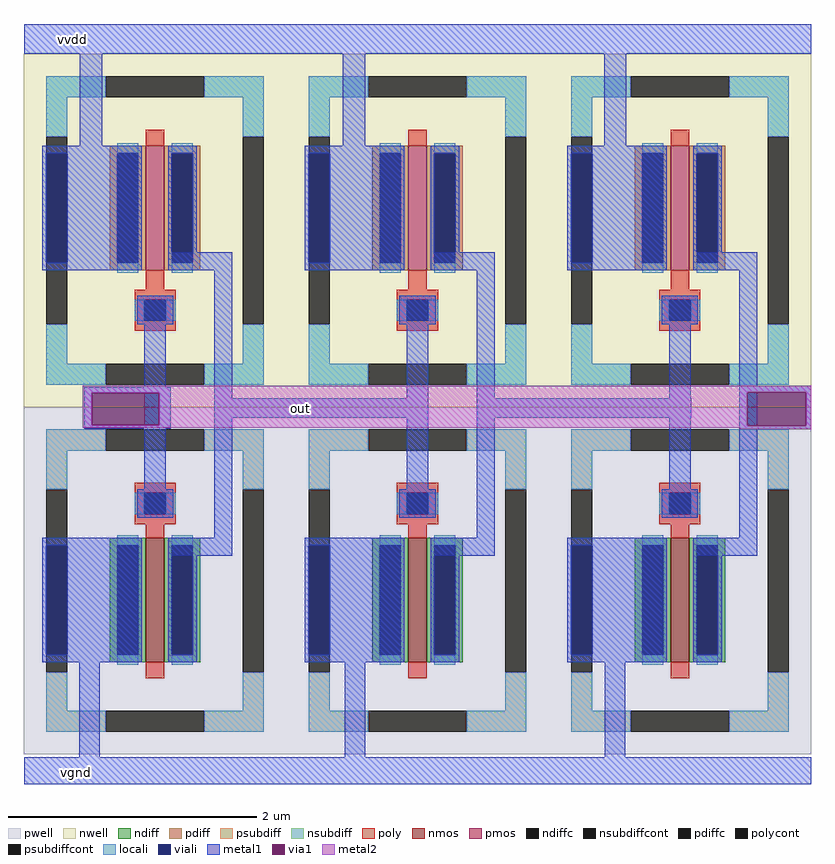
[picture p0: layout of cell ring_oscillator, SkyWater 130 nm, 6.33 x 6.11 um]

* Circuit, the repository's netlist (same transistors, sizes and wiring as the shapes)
** sch_path: /home/alex/mbkmpolytron/ring_oscillator/ring_oscillator.sch
.subckt ring_oscillator vvdd vgnd out
*.PININFO vvdd:I vgnd:I out:O
x1 vvdd net1 net2 vgnd inverter
x2 vvdd net2 out vgnd inverter
x3 vvdd out net1 vgnd inverter
.ends

* expanding   symbol:  /home/alex/mbkmpolytron/inverter/inverter.sym # of pins=4
** sym_path: /home/alex/mbkmpolytron/inverter/inverter.sym
** sch_path: /home/alex/mbkmpolytron/inverter/inverter.sch
.subckt inverter vvdd in out vgnd
*.PININFO vvdd:I in:I vgnd:I out:O
XM1 out in vgnd vgnd sky130_fd_pr__nfet_01v8 L=0.15 W=1 nf=1 m=1
XM2 out in vvdd vvdd sky130_fd_pr__pfet_01v8 L=0.15 W=1 nf=1 m=1
.ends

.end

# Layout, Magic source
magic
tech sky130A
magscale 1 2
<< metal1 >>
rect 1 1126 1266 1174
rect 90 919 126 1126
rect 513 942 549 1126
rect 933 941 969 1126
rect 97 581 236 590
rect 97 529 109 581
rect 218 529 236 581
rect 1151 582 1266 592
rect 306 541 650 572
rect 728 541 1073 572
rect 97 523 236 529
rect 1151 528 1163 582
rect 1258 528 1266 582
rect 1151 522 1266 528
rect 89 -5 122 184
rect 516 -5 549 196
rect 934 -5 967 198
rect 1 -48 1266 -5
<< via1 >>
rect 109 529 218 581
rect 1163 528 1258 582
<< metal2 >>
rect 95 582 1266 592
rect 95 581 1163 582
rect 95 529 109 581
rect 218 529 1163 581
rect 95 528 1163 529
rect 1258 528 1266 582
rect 95 525 1266 528
rect 1151 522 1266 525
use inverter  x1
transform 1 0 53 0 1 53
box -53 -53 369 1073
use inverter  x2
transform 1 0 475 0 1 53
box -53 -53 369 1073
use inverter  x3
transform 1 0 897 0 1 53
box -53 -53 369 1073
<< labels >>
flabel metal1 8 1129 148 1170 0 FreeSans 160 0 0 0 vvdd
port 0 nsew
flabel metal1 19 -46 152 -12 0 FreeSans 160 0 0 0 vgnd
port 1 nsew
flabel metal2 386 532 505 579 0 FreeSans 160 0 0 0 out
port 2 nsew
<< end >>

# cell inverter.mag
magic
tech sky130A
magscale 1 2
<< viali >>
rect -17 737 17 913
rect -17 107 17 283
<< metal1 >>
rect -23 913 137 925
rect -23 737 -17 913
rect 17 737 137 913
rect -23 725 137 737
rect 179 725 282 754
rect 141 333 175 678
rect 253 295 282 725
rect -23 283 137 295
rect -23 107 -17 283
rect 17 107 137 283
rect 179 266 282 295
rect -23 95 137 107
use sky130_fd_pr__nfet_01v8_64Z3AY  XM1
transform 1 0 158 0 1 226
box -211 -279 211 279
use sky130_fd_pr__pfet_01v8_LGS3BL  XM2
transform 1 0 158 0 1 789
box -211 -284 211 284
<< labels >>
flabel metal1 18 727 84 924 0 FreeSans 160 0 0 0 vvdd
port 0 nsew
flabel metal1 19 97 85 294 0 FreeSans 160 0 0 0 vgnd
port 1 nsew
flabel metal1 141 469 175 541 0 FreeSans 160 0 0 0 in
port 2 nsew
flabel metal1 253 469 282 541 0 FreeSans 160 0 0 0 out
port 3 nsew
<< end >>

# cell sky130_fd_pr__nfet_01v8_64Z3AY: kit device sky130_fd_pr__nfet_01v8, w 1.0 l 0.15 m 1 nf 1 diffcov 100 polycov 100 guard 1 glc 1 grc 1 gtc 1 gbc 1 tbcov 100 rlcov 100 topc 1 botc 0 poverlap 0 doverlap 1 lmin 0.15 wmin 0.42 compatible {sky130_fd_pr__nfet_01v8 sky130_fd_pr__nfet_01v8_lvt sky130_fd_bs_flash__special_sonosfet_star sky130_fd_pr__nfet_g5v0d10v5 sky130_fd_pr__nfet_05v0_nvt sky130_fd_pr__nfet_03v3_nvt} full_metal 1 viasrc 100 viadrn 100 viagate 100 viagb 0 viagr 0 viagl 0 viagt 0

# cell sky130_fd_pr__pfet_01v8_LGS3BL: kit device sky130_fd_pr__pfet_01v8, w 1.0 l 0.15 m 1 nf 1 diffcov 100 polycov 100 guard 1 glc 1 grc 1 gtc 1 gbc 1 tbcov 100 rlcov 100 topc 0 botc 1 poverlap 0 doverlap 1 lmin 0.15 wmin 0.42 compatible {sky130_fd_pr__pfet_01v8 sky130_fd_pr__pfet_01v8_lvt sky130_fd_pr__pfet_01v8_hvt sky130_fd_pr__pfet_g5v0d10v5} full_metal 1 viasrc 100 viadrn 100 viagate 100 viagb 0 viagr 0 viagl 0 viagt 0
